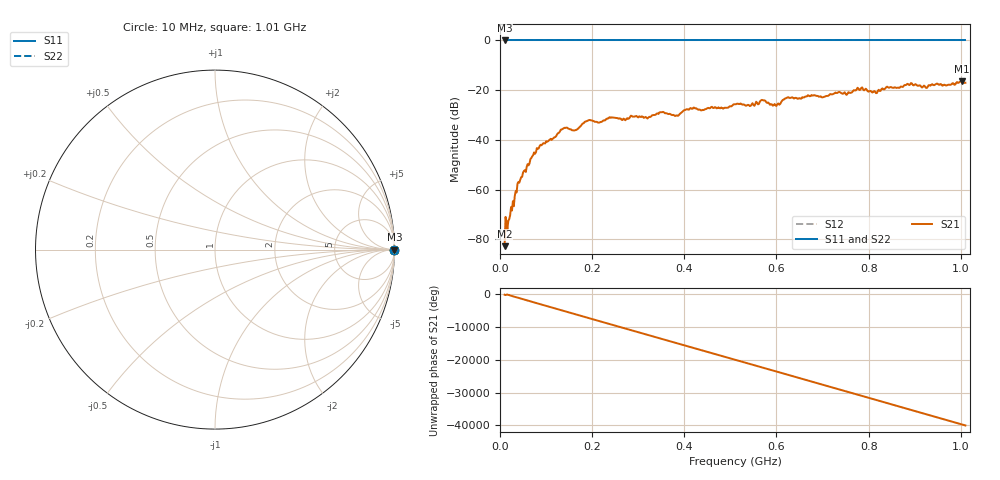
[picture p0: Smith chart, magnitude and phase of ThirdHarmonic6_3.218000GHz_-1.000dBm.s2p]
! 8/17/2025 9:49:08 AM
! C:\ANRITSUVNA\TEMP\TEMP.S2P
! CHANNEL.1
! TR.MEASUREMENT
! RAW.DATA
! RF.CORRECTION.OFF
! AVERAGING.OFF
! IF.BANDWIDTH: 5KHZ
! SWEEPTYPE:  FREQ.SWEEP(Linear)
! Reference Plane Port Info
! PORT:  PORT1  PORT2
! DISTANCE:  0  m  0  m
! TIME:  0  s  0  s
! PHASE.OFFSET:  0  deg.  0  deg.
! LOSS:  0  dB  0  dB
! REF.LOSS:  0  dB  0  dB
! REF.FREQ:  0  Hz  0  Hz
! Power Info
! POWER:  -20  dBm  -20  dBm
! EFF.POWER:  -20  dBm  -20  dBm
! SOURCE.ATTEN:  0  dB  0  dB
! TEST.ATTEN:  0  dB  0  dB
# GHZ S RI R 50.0
! FREQ.GHZ  S11RE  S11IM  S21RE  S21IM  S12RE  S12IM  S22RE  S22IM
!; PortSelection: Port_12
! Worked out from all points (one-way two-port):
!   501 points, 10 MHz to 1.01 GHz, reference 50 ohm
!   highest |S21| = -16.38 dB at 1.002 GHz (marker M1); lowest = -82.7 dB at 10 MHz (marker M2)
!   lowest |S11| = 0.0 dB at 10 MHz (marker M3)
!   |S11| at or under -10 dB: nowhere
!   |S22| runs from 0.0 to 0.0 dB; largest |S21 - S12| = 1.1
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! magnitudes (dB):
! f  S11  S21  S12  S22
! 10 MHz  0.0  -82.7  0.0  0.0
! 42 MHz  0.0  -57.2  0.0  0.0
! 76 MHz  0.0  -45.6  0.0  0.0
! 136 MHz  0.0  -35.6  0.0  0.0
! 162 MHz  0.0  -36.2  0.0  0.0
! 178 MHz  0.0  -33.7  0.0  0.0
! 194 MHz  0.0  -32.0  0.0  0.0
! 322 MHz  0.0  -31.0  0.0  0.0
! 344 MHz  0.0  -29.5  0.0  0.0
! 384 MHz  0.0  -30.2  0.0  0.0
! 416 MHz  0.0  -27.5  0.0  0.0
! 510 MHz  0.0  -25.6  0.0  0.0
! 540 MHz  0.0  -26.0  0.0  0.0
! 570 MHz  0.0  -24.0  0.0  0.0
! 596 MHz  0.0  -25.6  0.0  0.0
! 622 MHz  0.0  -23.1  0.0  0.0
! 678 MHz  0.0  -22.1  0.0  0.0
! 782 MHz  0.0  -19.8  0.0  0.0
! 814 MHz  0.0  -20.5  0.0  0.0
! 844 MHz  0.0  -19.0  0.0  0.0
! 1.002 GHz  0.0  -16.4  0.0  0.0
! 1.01 GHz  0.0  -17.0  0.0  0.0
